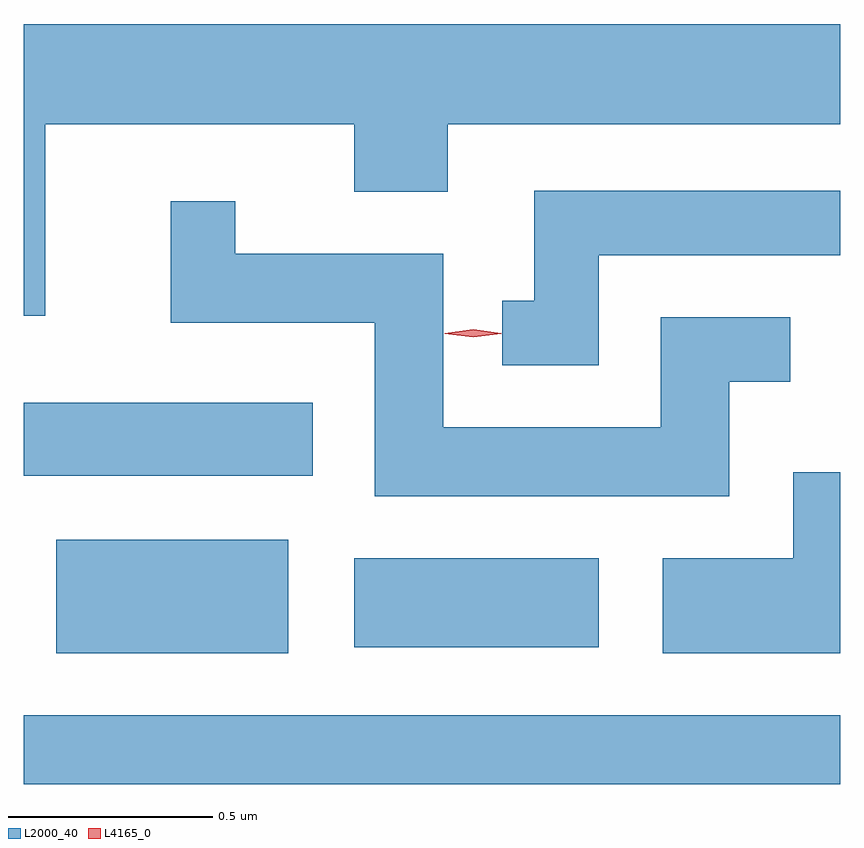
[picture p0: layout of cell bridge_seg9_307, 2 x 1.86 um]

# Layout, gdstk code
import gdstk
lib = gdstk.Library(unit=1e-6, precision=1e-09)
def R(c, l, rs):  # rectangles x0, y0, x1, y1
    for r in rs: c.add(gdstk.rectangle(r[:2], r[2:], *l))
def P(c, l, *ps):  # polygons
    for p in ps: c.add(gdstk.Polygon(p, *l))
L2000_40 = (2000, 40)
L4165_0 = (4165, 0)

bridge_seg9_307 = lib.new_cell('bridge_seg9_307')
R(bridge_seg9_307, L2000_40, [(1026.591,2045.701,1028.591,2045.869), (1026.671,2046.021,1027.239,2046.299), (1027.401,2046.036,1027.999,2046.254), (1026.591,2046.456,1027.299,2046.634)])
P(bridge_seg9_307, L2000_40, [(1026.644,2047.316),(1027.401,2047.316),(1027.401,2047.151),(1027.629,2047.151),(1027.629,2047.316),(1028.591,2047.316),(1028.591,2047.562),(1026.591,2047.562),(1026.591,2046.848),(1026.644,2046.848)],
  [(1027.999,2046.996),(1028.591,2046.996),(1028.591,2047.154),(1027.841,2047.154),(1027.841,2046.884),(1027.763,2046.884),(1027.763,2046.726),(1027.999,2046.726)],
  [(1028.319,2046.686),(1028.468,2046.686),(1028.468,2046.844),(1028.151,2046.844),(1028.151,2046.574),(1027.619,2046.574),(1027.619,2046.999),(1027.109,2046.999),(1027.109,2047.128),(1026.951,2047.128),(1026.951,2046.831),(1027.451,2046.831),(1027.451,2046.406),(1028.319,2046.406)],
  [(1028.591,2046.464),(1028.476,2046.464),(1028.476,2046.254),(1028.156,2046.254),(1028.156,2046.021),(1028.591,2046.021)])
P(bridge_seg9_307, L4165_0, [(1027.692,2046.795),(1027.622,2046.804),(1027.622,2046.804),(1027.622,2046.805),(1027.692,2046.814),(1027.761,2046.805),(1027.761,2046.805),(1027.761,2046.804)])

lib.write_gds('bridge_seg9_307.gds')
